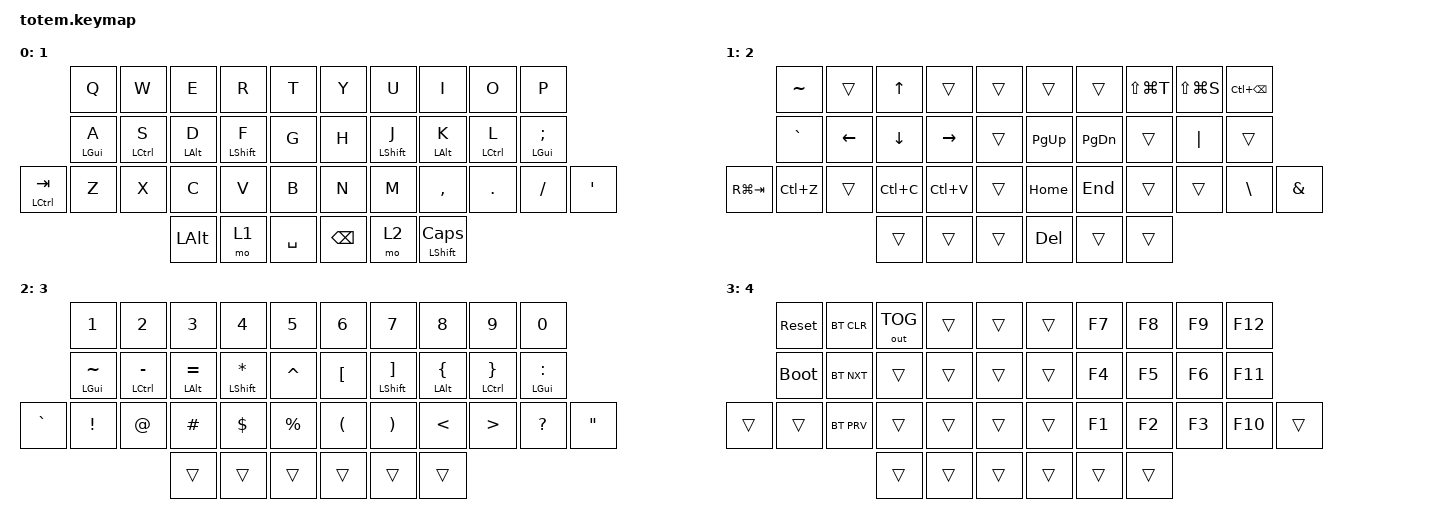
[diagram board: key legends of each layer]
//
//                                                        ▀▀▀▀▀     ▀▀▀▀▀          ▀▀█▀▀
//                                                        ▄▀▀▀▄  ▄  ▄▀▀▀▄  ▄  ▄▀▀▀▄  █  ▄▀▀▀▄
//                                                        █   █  █  █   █  █  █   █  █  █   █
//                                                         ▀▀▀   █   ▀▀▀   █   ▀▀▀   ▀   ▀▀▀
//                                                               █      ▄▄▄█▄▄▄    █   █  
//                                                               ▀      █  █  █     █▄█
//                                                             ▀▀▀▀▀    █  █  █      ▀
//                                                                      ▀  ▀  ▀
//
// ▄▄▄▄▄▄▄▄▄▄▄▄▄▄▄▄▄▄▄▄▄▄▄▄▄▄▄▄▄▄▄▄▄▄▄▄▄▄▄▄▄▄▄▄▄▄▄▄▄▄▄▄▄▄▄▄▄▄▄▄▄▄▄▄▄▄▄▄▄▄▄▄▄▄▄▄▄▄▄▄▄▄▄▄▄▄▄▄▄▄▄▄▄▄▄▄▄▄▄▄▄▄▄▄▄▄▄▄▄▄▄▄▄▄▄▄▄▄▄▄▄▄▄▄▄▄▄▄▄▄▄▄▄▄▄▄▄▄▄▄▄▄▄▄▄▄▄▄▄

#include <behaviors.dtsi>
#include <dt-bindings/zmk/bt.h>
#include <dt-bindings/zmk/keys.h>
#include <dt-bindings/zmk/outputs.h>

#define BASE 0
#define NAV  1
#define SYM  2
#define ADJ  3
#define TVP1 4
#define TVP2 5

&mt {
    quick-tap-ms = <100>;
    global-quick-tap;
    flavor = "tap-preferred";
    tapping-term-ms = <170>;
};

/ {
    combos {
        compatible = "zmk,combos";

        combo_esc {
            timeout-ms = <50>;
            key-positions = <0 1>;
            bindings = <&kp ESC>;
        };

        enye {
            timeout-ms = <100>;
            key-positions = <26 17>;
            bindings = <&kp RA(N)>;
        };

        enter {
            bindings = <&kp RET>;
            key-positions = <16 17 18>;
        };

        ctrl_bckspc {
            bindings = <&kp LC(BACKSPACE)>;
            key-positions = <35 31>;
        };

        folders {
            bindings = <&kp LG(E)>;
            key-positions = <33 2 1>;
        };

        mac_copy {
            bindings = <&kp LG(C)>;
            key-positions = <23 22>;
        };

        mac_paste {
            bindings = <&kp LG(V)>;
            key-positions = <23 24>;
        };

        l_guy {
            bindings = <&kp LEFT_GUI>;
            key-positions = <32 37>;
        };

        word_erase {
            bindings = <&kp LC(BACKSPACE)>;
            key-positions = <8 9>;
        };

        mac_cut {
            bindings = <&kp LG(X)>;
            key-positions = <22 24>;
        };
    };

    keymap {
        compatible = "zmk,keymap";

        // ▄▄▄▄▄▄▄▄▄▄▄▄▄▄▄▄▄▄▄▄▄▄▄▄▄▄▄▄▄▄▄▄▄▄▄▄▄▄▄▄▄▄▄▄▄▄▄▄▄▄▄▄▄▄▄▄▄▄▄▄▄▄▄▄▄▄▄▄▄▄▄▄▄▄▄▄▄▄▄▄▄▄▄▄▄▄▄▄▄▄▄▄▄▄▄▄▄▄▄▄▄▄▄▄▄▄▄▄▄▄▄▄▄▄▄▄▄▄▄▄▄▄▄▄▄▄▄▄▄▄▄▄▄▄▄▄▄▄▄▄▄▄▄▄▄▄▄▄▄

        base_layer {
            // ┏━━━━━━━━━━━━━━━━━━━━━━━━━━━━━━━━━━━━━━━┓

            label = "1";

            // ┗━━━━━━━━━━━━━━━━━━━━━━━━━━━━━━━━━━━━━━━┛
            //             ┏━━━━━━━━━━━┳━━━━━━━━━━━┳━━━━━━━━━━━┳━━━━━━━━━━━┳━━━━━━━━━━━┓   ┏━━━━━━━━━━━┳━━━━━━━━━━━┳━━━━━━━━━━━┳━━━━━━━━━━━┳━━━━━━━━━━━┓
            //             ┃     Q     ┃     W     ┃     F     ┃     P     ┃     G     ┃   ┃     J     ┃     L     ┃     U     ┃     Y     ┃     ;     ┃
            //             ┣━━━━━━━━━━━╋━━━━━━━━━━━╋━━━━━━━━━━━╋━━━━━━━━━━━╋━━━━━━━━━━━┫   ┣━━━━━━━━━━━╋━━━━━━━━━━━╋━━━━━━━━━━━╋━━━━━━━━━━━╋━━━━━━━━━━━┫
            //             ┃     A     ┃     R     ┃     S     ┃     T     ┃     D     ┃   ┃     H     ┃     N     ┃     E     ┃     I     ┃     O     ┃
            // ┏━━━━━━━━━━━╋━━━━━━━━━━━╋━━━━━━━━━━━╋━━━━━━━━━━━╋━━━━━━━━━━━╋━━━━━━━━━━━┫   ┣━━━━━━━━━━━╋━━━━━━━━━━━╋━━━━━━━━━━━╋━━━━━━━━━━━╋━━━━━━━━━━━╋━━━━━━━━━━━┓
            // ┃     Q     ┃     Z     ┃     X     ┃     C     ┃     V     ┃     B     ┃   ┃     K     ┃     M     ┃     ,     ┃     .     ┃     /     ┃     \     ┃
            // ┗━━━━━━━━━━━┻━━━━━━━━━━━┻━━━━━━━━━━━╋━━━━━━━━━━━╋━━━━━━━━━━━╋━━━━━━━━━━━┫   ┣━━━━━━━━━━━╋━━━━━━━━━━━╋━━━━━━━━━━━╋━━━━━━━━━━━┻━━━━━━━━━━━┻━━━━━━━━━━━┛
            //                                     ┃    DEL    ┃    TAB    ┃    SPC    ┃   ┃   ENTER   ┃           ┃   BSPC    ┃
            //                                     ┗━━━━━━━━━━━┻━━━━━━━━━━━┻━━━━━━━━━━━┛   ┗━━━━━━━━━━━┻━━━━━━━━━━━┻━━━━━━━━━━━┛

            bindings = <
                      &kp Q           &kp W               &kp E           &kp R        &kp T        &kp Y          &kp U             &kp I                    &kp O               &kp P
                      &mt LEFT_GUI A  &mt LEFT_CONTROL S  &mt LEFT_ALT D  &mt LSHFT F  &kp G        &kp H          &mt LEFT_SHIFT J  &mt LEFT_ALT K           &mt LEFT_CONTROL L  &mt LEFT_GUI SEMICOLON
&mt LEFT_CONTROL TAB  &kp Z           &kp X               &kp C           &kp V        &kp B        &kp N          &kp M             &kp COMMA                &kp DOT             &kp FSLH                &kp APOS
                                                          &kp LEFT_ALT    &mo 1        &kp SPACE    &kp BACKSPACE  &mo 2             &mt LEFT_SHIFT CAPSLOCK
            >;
        };

        // ▄▄▄▄▄▄▄▄▄▄▄▄▄▄▄▄▄▄▄▄▄▄▄▄▄▄▄▄▄▄▄▄▄▄▄▄▄▄▄▄▄▄▄▄▄▄▄▄▄▄▄▄▄▄▄▄▄▄▄▄▄▄▄▄▄▄▄▄▄▄▄▄▄▄▄▄▄▄▄▄▄▄▄▄▄▄▄▄▄▄▄▄▄▄▄▄▄▄▄▄▄▄▄▄▄▄▄▄▄▄▄▄▄▄▄▄▄▄▄▄▄▄▄▄▄▄▄▄▄▄▄▄▄▄▄▄▄▄▄▄▄▄▄▄▄▄▄▄▄

        nav_layer {
            // ┏━━━━━━━━━━━━━━━━━━━━━━━━━━━━━━━━━━━━━━━┓

            label = "2";

            // ┗━━━━━━━━━━━━━━━━━━━━━━━━━━━━━━━━━━━━━━━┛
            //             ┏━━━━━━━━━━━┳━━━━━━━━━━━┳━━━━━━━━━━━┳━━━━━━━━━━━┳━━━━━━━━━━━┓   ┏━━━━━━━━━━━┳━━━━━━━━━━━┳━━━━━━━━━━━┳━━━━━━━━━━━┳━━━━━━━━━━━┓
            //             ┃           ┃           ┃     UP    ┃           ┃     {     ┃   ┃     }     ┃     7     ┃     8     ┃     9     ┃     +     ┃
            //             ┣━━━━━━━━━━━╋━━━━━━━━━━━╋━━━━━━━━━━━╋━━━━━━━━━━━╋━━━━━━━━━━━┫   ┣━━━━━━━━━━━╋━━━━━━━━━━━╋━━━━━━━━━━━╋━━━━━━━━━━━╋━━━━━━━━━━━┫
            //             ┃   SHIFT   ┃   LEFT    ┃    DOWN   ┃   RIGHT   ┃     [     ┃   ┃     ]     ┃     4     ┃     5     ┃     6     ┃     -     ┃
            // ┏━━━━━━━━━━━╋━━━━━━━━━━━╋━━━━━━━━━━━╋━━━━━━━━━━━╋━━━━━━━━━━━╋━━━━━━━━━━━┫   ┣━━━━━━━━━━━╋━━━━━━━━━━━╋━━━━━━━━━━━╋━━━━━━━━━━━╋━━━━━━━━━━━╋━━━━━━━━━━━┓
            // ┃           ┃           ┃   P UP    ┃  C LOCK   ┃  P DOWN   ┃     (     ┃   ┃     )     ┃     1     ┃     2     ┃     3     ┃     *     ┃           ┃
            // ┗━━━━━━━━━━━┻━━━━━━━━━━━┻━━━━━━━━━━━╋━━━━━━━━━━━╋━━━━━━━━━━━╋━━━━━━━━━━━┫   ┣━━━━━━━━━━━╋━━━━━━━━━━━╋━━━━━━━━━━━╋━━━━━━━━━━━┻━━━━━━━━━━━┻━━━━━━━━━━━┛
            //                                     ┃           ┃    TAB    ┃    SPC    ┃   ┃    DEL    ┃     0     ┃           ┃
            //                                     ┗━━━━━━━━━━━┻━━━━━━━━━━━┻━━━━━━━━━━━┛   ┗━━━━━━━━━━━┻━━━━━━━━━━━┻━━━━━━━━━━━┛

            bindings = <
             &kp TILDE  &trans    &kp UP     &trans     &trans    &trans      &trans         &kp LS(LG(T))  &kp LS(LG(S))  &kp LC(BACKSPACE)
             &kp GRAVE  &kp LEFT  &kp DOWN   &kp RIGHT  &trans    &kp PG_UP   &kp PAGE_DOWN  &trans         &kp PIPE       &trans
&kp RG(TAB)  &kp LC(Z)  &trans    &kp LC(C)  &kp LC(V)  &trans    &kp HOME    &kp END        &trans         &trans         &kp BACKSLASH      &kp AMPS
                                  &trans     &trans     &trans    &kp DELETE  &trans         &trans
            >;
        };

        // ▄▄▄▄▄▄▄▄▄▄▄▄▄▄▄▄▄▄▄▄▄▄▄▄▄▄▄▄▄▄▄▄▄▄▄▄▄▄▄▄▄▄▄▄▄▄▄▄▄▄▄▄▄▄▄▄▄▄▄▄▄▄▄▄▄▄▄▄▄▄▄▄▄▄▄▄▄▄▄▄▄▄▄▄▄▄▄▄▄▄▄▄▄▄▄▄▄▄▄▄▄▄▄▄▄▄▄▄▄▄▄▄▄▄▄▄▄▄▄▄▄▄▄▄▄▄▄▄▄▄▄▄▄▄▄▄▄▄▄▄▄▄▄▄▄▄▄▄▄

        sim_layer {
            // ┏━━━━━━━━━━━━━━━━━━━━━━━━━━━━━━━━━━━━━━━┓

            label = "3";

            // ┗━━━━━━━━━━━━━━━━━━━━━━━━━━━━━━━━━━━━━━━┛
            //             ┏━━━━━━━━━━━┳━━━━━━━━━━━┳━━━━━━━━━━━┳━━━━━━━━━━━┳━━━━━━━━━━━┓   ┏━━━━━━━━━━━┳━━━━━━━━━━━┳━━━━━━━━━━━┳━━━━━━━━━━━┳━━━━━━━━━━━┓
            //             ┃     !     ┃     @     ┃     #     ┃     $     ┃     %     ┃   ┃     ˆ     ┃     &     ┃     Ü     ┃     '     ┃     "     ┃
            //             ┣━━━━━━━━━━━╋━━━━━━━━━━━╋━━━━━━━━━━━╋━━━━━━━━━━━╋━━━━━━━━━━━┫   ┣━━━━━━━━━━━╋━━━━━━━━━━━╋━━━━━━━━━━━╋━━━━━━━━━━━╋━━━━━━━━━━━┫
            //             ┃     Ä     ┃           ┃    SZ     ┃           ┃           ┃   ┃   MUTE    ┃   YEN     ┃   EURO    ┃  POUND    ┃     Ö     ┃
            // ┏━━━━━━━━━━━╋━━━━━━━━━━━╋━━━━━━━━━━━╋━━━━━━━━━━━╋━━━━━━━━━━━╋━━━━━━━━━━━┫   ┣━━━━━━━━━━━╋━━━━━━━━━━━╋━━━━━━━━━━━╋━━━━━━━━━━━╋━━━━━━━━━━━╋━━━━━━━━━━━┓
            // ┃           ┃  EMAIL1   ┃  EMAIL2   ┃           ┃           ┃           ┃   ┃   VOL-    ┃   VOL+    ┃   LAST    ┃   NEXT    ┃     \     ┃           ┃
            // ┗━━━━━━━━━━━┻━━━━━━━━━━━┻━━━━━━━━━━━╋━━━━━━━━━━━╋━━━━━━━━━━━╋━━━━━━━━━━━┫   ┣━━━━━━━━━━━╋━━━━━━━━━━━╋━━━━━━━━━━━╋━━━━━━━━━━━┻━━━━━━━━━━━┻━━━━━━━━━━━┛
            //                                     ┃           ┃    GIF    ┃    ADJ    ┃   ┃           ┃           ┃           ┃
            //                                     ┗━━━━━━━━━━━┻━━━━━━━━━━━┻━━━━━━━━━━━┛   ┗━━━━━━━━━━━┻━━━━━━━━━━━┻━━━━━━━━━━━┛

            bindings = <
           &kp NUMBER_1        &kp NUMBER_2            &kp NUMBER_3        &kp NUMBER_4          &kp N5         &kp NUMBER_6          &kp N7                        &kp N8                   &kp N9                        &kp N0
           &mt LEFT_GUI TILDE  &mt LEFT_CONTROL MINUS  &mt LEFT_ALT EQUAL  &mt LEFT_SHIFT ASTRK  &kp CARET      &kp LEFT_BRACKET      &mt LEFT_SHIFT RIGHT_BRACKET  &mt LEFT_ALT LEFT_BRACE  &mt LEFT_CONTROL RIGHT_BRACE  &mt LEFT_GUI COLON
&kp GRAVE  &kp EXCLAMATION     &kp AT                  &kp HASH            &kp DOLLAR            &kp PERCENT    &kp LEFT_PARENTHESIS  &kp RIGHT_PARENTHESIS         &kp LESS_THAN            &kp GREATER_THAN              &kp QUESTION        &kp DOUBLE_QUOTES
                                                       &trans              &trans                &trans         &trans                &trans                        &trans
            >;
        };

        // ▄▄▄▄▄▄▄▄▄▄▄▄▄▄▄▄▄▄▄▄▄▄▄▄▄▄▄▄▄▄▄▄▄▄▄▄▄▄▄▄▄▄▄▄▄▄▄▄▄▄▄▄▄▄▄▄▄▄▄▄▄▄▄▄▄▄▄▄▄▄▄▄▄▄▄▄▄▄▄▄▄▄▄▄▄▄▄▄▄▄▄▄▄▄▄▄▄▄▄▄▄▄▄▄▄▄▄▄▄▄▄▄▄▄▄▄▄▄▄▄▄▄▄▄▄▄▄▄▄▄▄▄▄▄▄▄▄▄▄▄▄▄▄▄▄▄▄▄▄

        adjust_layer {
            // ┏━━━━━━━━━━━━━━━━━━━━━━━━━━━━━━━━━━━━━━━┓

            label = "4";

            // ┗━━━━━━━━━━━━━━━━━━━━━━━━━━━━━━━━━━━━━━━┛
            //             ┏━━━━━━━━━━━┳━━━━━━━━━━━┳━━━━━━━━━━━┳━━━━━━━━━━━┳━━━━━━━━━━━┓   ┏━━━━━━━━━━━┳━━━━━━━━━━━┳━━━━━━━━━━━┳━━━━━━━━━━━┳━━━━━━━━━━━┓
            //             ┃   RESET   ┃ BT CLEAR  ┃  OUT TOG  ┃           ┃           ┃   ┃           ┃    F7     ┃    F8     ┃    F9     ┃    F12    ┃
            //             ┣━━━━━━━━━━━╋━━━━━━━━━━━╋━━━━━━━━━━━╋━━━━━━━━━━━╋━━━━━━━━━━━┫   ┣━━━━━━━━━━━╋━━━━━━━━━━━╋━━━━━━━━━━━╋━━━━━━━━━━━╋━━━━━━━━━━━┫
            //             ┃ BOOTLOAD  ┃ BT NEXT   ┃           ┃           ┃           ┃   ┃           ┃    F4     ┃    F5     ┃    F6     ┃    F11    ┃
            // ┏━━━━━━━━━━━╋━━━━━━━━━━━╋━━━━━━━━━━━╋━━━━━━━━━━━╋━━━━━━━━━━━╋━━━━━━━━━━━┫   ┣━━━━━━━━━━━╋━━━━━━━━━━━╋━━━━━━━━━━━╋━━━━━━━━━━━╋━━━━━━━━━━━╋━━━━━━━━━━━┓
            // ┃           ┃           ┃ BT PREV   ┃           ┃           ┃           ┃   ┃           ┃    F1     ┃    F2     ┃    F3     ┃    F10    ┃           ┃
            // ┗━━━━━━━━━━━┻━━━━━━━━━━━┻━━━━━━━━━━━╋━━━━━━━━━━━╋━━━━━━━━━━━╋━━━━━━━━━━━┫   ┣━━━━━━━━━━━╋━━━━━━━━━━━╋━━━━━━━━━━━╋━━━━━━━━━━━┻━━━━━━━━━━━┻━━━━━━━━━━━┛
            //                                     ┃           ┃           ┃           ┃   ┃           ┃           ┃           ┃
            //                                     ┗━━━━━━━━━━━┻━━━━━━━━━━━┻━━━━━━━━━━━┛   ┗━━━━━━━━━━━┻━━━━━━━━━━━┻━━━━━━━━━━━┛

            bindings = <
        &sys_reset   &bt BT_CLR  &out OUT_TOG  &trans  &trans    &trans  &kp F7  &kp F8  &kp F9  &kp F12
        &bootloader  &bt BT_NXT  &trans        &trans  &trans    &trans  &kp F4  &kp F5  &kp F6  &kp F11
&trans  &trans       &bt BT_PRV  &trans        &trans  &trans    &trans  &kp F1  &kp F2  &kp F3  &kp F10  &trans
                                 &trans        &trans  &trans    &trans  &trans  &trans
            >;
        };

        // ▄▄▄▄▄▄▄▄▄▄▄▄▄▄▄▄▄▄▄▄▄▄▄▄▄▄▄▄▄▄▄▄▄▄▄▄▄▄▄▄▄▄▄▄▄▄▄▄▄▄▄▄▄▄▄▄▄▄▄▄▄▄▄▄▄▄▄▄▄▄▄▄▄▄▄▄▄▄▄▄▄▄▄▄▄▄▄▄▄▄▄▄▄▄▄▄▄▄▄▄▄▄▄▄▄▄▄▄▄▄▄▄▄▄▄▄▄▄▄▄▄▄▄▄▄▄▄▄▄▄▄▄▄▄▄▄▄▄▄▄▄▄▄▄▄▄▄▄▄
        // ▄▄▄▄▄▄▄▄▄▄▄▄▄▄▄▄▄▄▄▄▄▄▄▄▄▄▄▄▄▄▄▄▄▄▄▄▄▄▄▄▄▄▄▄▄▄▄▄▄▄▄▄▄▄▄▄▄▄▄▄▄▄▄▄▄▄▄▄▄▄▄▄▄▄▄▄▄▄▄▄▄▄▄▄▄▄▄▄▄▄▄▄▄▄▄▄▄▄▄▄▄▄▄▄▄▄▄▄▄▄▄▄▄▄▄▄▄▄▄▄▄▄▄▄▄▄▄▄▄▄▄▄▄▄▄▄▄▄▄▄▄▄▄▄▄▄▄▄▄
    };

    conditional_layers {
        compatible = "zmk,conditional-layers";

        layer_3 {
            if-layers = <1 2>;
            then-layer = <3>;
        };
    };
};
